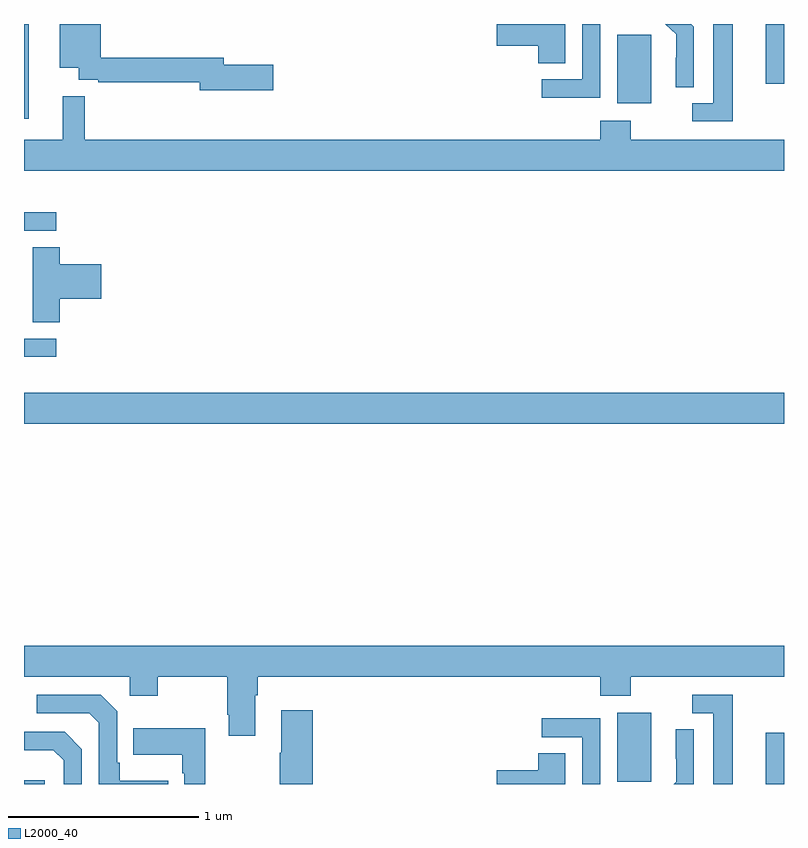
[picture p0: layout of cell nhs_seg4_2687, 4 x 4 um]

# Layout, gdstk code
import gdstk
lib = gdstk.Library(unit=1e-6, precision=1e-09)
def R(c, l, rs):  # rectangles x0, y0, x1, y1
    for r in rs: c.add(gdstk.rectangle(r[:2], r[2:], *l))
def P(c, l, *ps):  # polygons
    for p in ps: c.add(gdstk.Polygon(p, *l))
L2000_40 = (2000, 40)

nhs_seg4_2687 = lib.new_cell('nhs_seg4_2687')
R(nhs_seg4_2687, L2000_40, [(251,818.9,251.11,818.92), (254.903,818.9,255,819.171), (254.123,818.913,254.302,819.274), (251,820.796,255,820.96), (251,821.148,251.17,821.244), (251,821.811,251.17,821.91), (251,822.402,251.026,822.9), (254.123,822.482,254.302,822.843), (254.903,822.585,255,822.9)])
P(nhs_seg4_2687, L2000_40, [(252.313,822.686),(252.052,822.686),(252.052,822.722),(251.404,822.722),(251.404,822.9),(251.189,822.9),(251.189,822.671),(251.288,822.671),(251.288,822.606),(251.392,822.606),(251.392,822.594),(251.924,822.594),(251.924,822.551),(252.313,822.551)],
  [(253.849,822.9),(253.488,822.9),(253.488,822.785),(253.706,822.785),(253.706,822.694),(253.849,822.694)],
  [(254.034,822.9),(253.938,822.9),(253.938,822.609),(253.725,822.609),(253.725,822.511),(254.034,822.511)],
  [(254.526,822.886),(254.512,822.9),(254.376,822.9),(254.432,822.845),(254.432,822.722),(254.43,822.722),(254.43,822.568),(254.526,822.568)],
  [(254.731,822.9),(254.627,822.9),(254.627,822.483),(254.517,822.483),(254.517,822.387),(254.731,822.387)],
  [(255,822.292),(254.193,822.292),(254.193,822.391),(254.033,822.391),(254.033,822.292),(251.321,822.292),(251.321,822.521),(251.204,822.521),(251.204,822.292),(251,822.292),(251,822.128),(255,822.128)],
  [(251.189,821.453),(251.407,821.453),(251.407,821.636),(251.189,821.636),(251.189,821.726),(251.045,821.726),(251.045,821.329),(251.189,821.329)],
  [(252.217,819.368),(252.23,819.368),(252.23,819.464),(254.033,819.464),(254.033,819.365),(254.193,819.365),(254.193,819.464),(255,819.464),(255,819.628),(251,819.628),(251,819.464),(251.556,819.464),(251.556,819.365),(251.703,819.365),(251.703,819.464),(252.07,819.464),(252.07,819.265),(252.077,819.265),(252.077,819.153),(252.217,819.153)],
  [(251.759,818.917),(251.503,818.917),(251.503,819.013),(251.49,819.013),(251.49,819.282),(251.403,819.369),(251.067,819.369),(251.067,819.273),(251.343,819.273),(251.394,819.222),(251.394,818.9),(251.759,818.9)],
  [(254.731,819.369),(254.517,819.369),(254.517,819.273),(254.627,819.273),(254.627,818.9),(254.731,818.9)],
  [(252.521,819.289),(252.353,819.289),(252.353,819.065),(252.346,819.065),(252.346,818.9),(252.521,818.9)],
  [(254.034,819.246),(253.725,819.246),(253.725,819.147),(253.938,819.147),(253.938,818.9),(254.034,818.9)],
  [(251.953,819.193),(251.575,819.193),(251.575,819.053),(251.832,819.053),(251.832,818.957),(251.844,818.957),(251.844,818.9),(251.953,818.9)],
  [(254.526,819.188),(254.43,819.188),(254.43,819.034),(254.432,819.034),(254.432,818.912),(254.42,818.9),(254.526,818.9)],
  [(251.304,819.084),(251.214,819.174),(251,819.174),(251,819.077),(251.155,819.077),(251.208,819.024),(251.208,818.9),(251.304,818.9)],
  [(253.849,819.062),(253.706,819.062),(253.706,818.972),(253.488,818.972),(253.488,818.9),(253.849,818.9)])

lib.write_gds('nhs_seg4_2687.gds')
